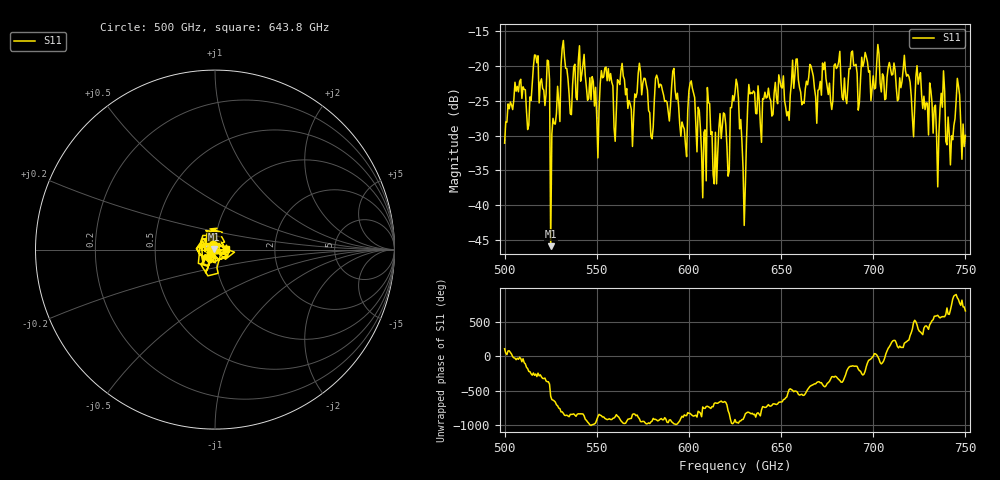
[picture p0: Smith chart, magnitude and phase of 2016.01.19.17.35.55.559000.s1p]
!Created with skrf (http://scikit-rf.org).
# GHz S RI R 50.0
!freq ReS11 ImS11
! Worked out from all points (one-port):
!   401 points, 500 GHz to 750 GHz, reference 50 ohm
!   lowest |S11| = -45.8 dB at 525 GHz (marker M1), VSWR 1.01, Z = 49.6 + j0.304 ohm
!   |S11| at or under -10 dB: start of sweep to end of sweep
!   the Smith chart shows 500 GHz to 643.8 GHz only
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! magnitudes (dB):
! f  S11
! 500 GHz  -31.1
! 506.9 GHz  -23.0
! 513.1 GHz  -28.5
! 516.9 GHz  -18.5
! 523.1 GHz  -19.2
! 525 GHz  -45.8
! 526.2 GHz  -27.5
! 531.2 GHz  -17.5
! 550 GHz  -27.4
! 553.8 GHz  -21.6
! 562.5 GHz  -22.7
! 568.8 GHz  -26.3
! 576.2 GHz  -21.9
! 579.4 GHz  -30.1
! 583.1 GHz  -21.9
! 593.8 GHz  -23.9
! 597.5 GHz  -29.1
! 601.9 GHz  -23.3
! 608.1 GHz  -29.6
! 611.2 GHz  -25.4
! 614.4 GHz  -29.5
! 625 GHz  -23.9
! 630 GHz  -42.9
! 633.8 GHz  -23.9
! 656.2 GHz  -19.2
! 687.5 GHz  -20.5
! 718.8 GHz  -21.3
! 750 GHz  -30.0
